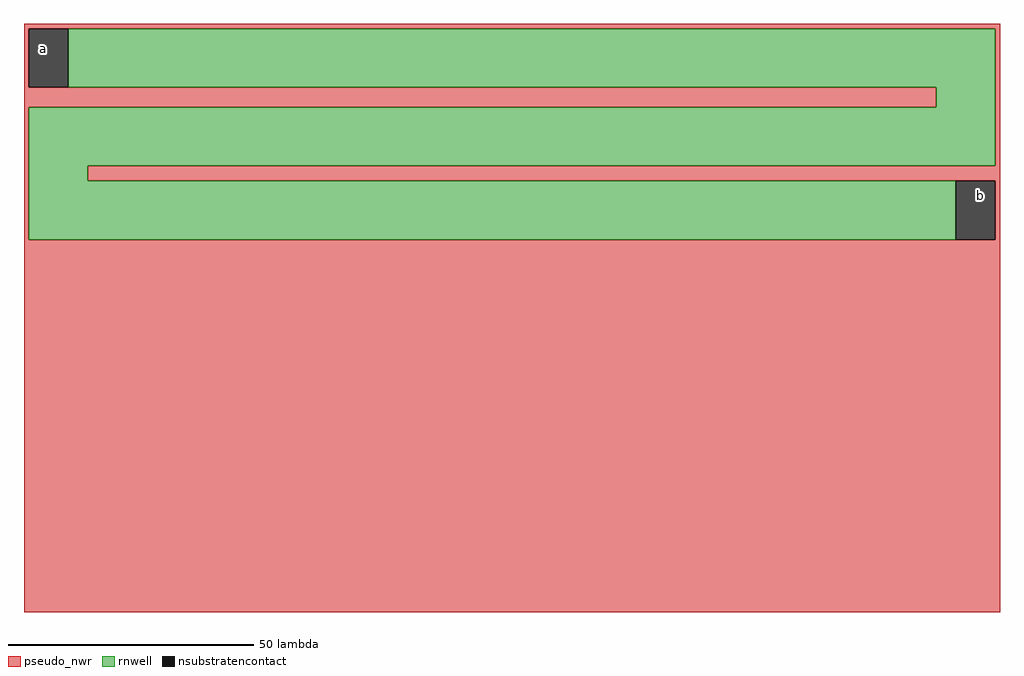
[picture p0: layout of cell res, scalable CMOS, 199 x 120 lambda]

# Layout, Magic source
magic
tech scmos
<< nsubstratencontact >>
rect -130 35 -122 47
rect 59 4 67 16
<< rnwell >>
rect -122 35 67 47
rect 55 31 67 35
rect -130 19 67 31
rect -130 16 -118 19
rect -130 4 59 16
<< pseudo_nwr >>
rect -131 47 68 48
rect -131 35 -130 47
rect -131 31 55 35
rect -131 4 -130 31
rect 67 19 68 47
rect -118 16 68 19
rect 67 4 68 16
rect -131 -72 68 4
<< labels >>
rlabel nsubstratencontact 64 13 64 13 7 b
rlabel nsubstratencontact -127 43 -127 43 4 a
<< end >>
